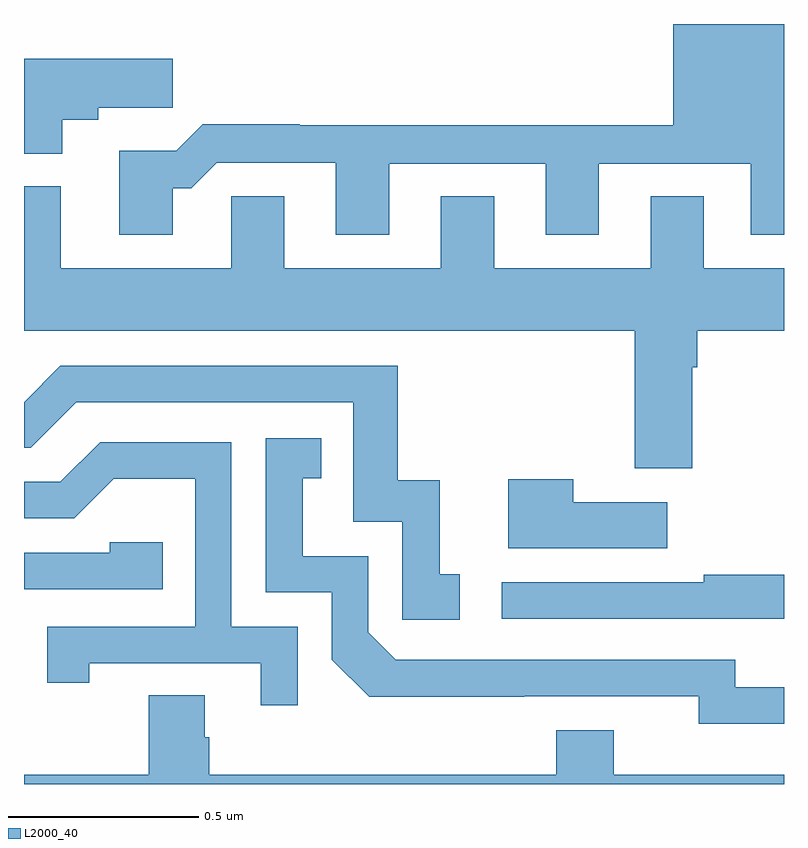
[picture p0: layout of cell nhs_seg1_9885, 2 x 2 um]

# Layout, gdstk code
import gdstk
lib = gdstk.Library(unit=1e-6, precision=1e-09)
def P(c, l, *ps):  # polygons
    for p in ps: c.add(gdstk.Polygon(p, *l))
L2000_40 = (2000, 40)

nhs_seg1_9885 = lib.new_cell('nhs_seg1_9885')
P(nhs_seg1_9885, L2000_40, [(234.391,558.767),(234.44,558.767),(234.507,558.834),(234.821,558.834),(234.821,558.645),(234.961,558.645),(234.961,558.831),(235.373,558.831),(235.373,558.645),(235.513,558.645),(235.513,558.831),(235.913,558.831),(235.913,558.645),(236,558.645),(236,559.199),(235.709,559.199),(235.709,558.932),(234.725,558.932),(234.725,558.935),(234.47,558.935),(234.4,558.865),(234.251,558.865),(234.251,558.645),(234.391,558.645)],
  [(234.1,558.947),(234.196,558.947),(234.196,558.979),(234.391,558.979),(234.391,559.108),(234,559.108),(234,558.857),(234.1,558.857)],
  [(235.759,558.296),(235.772,558.296),(235.772,558.392),(236,558.392),(236,558.556),(235.789,558.556),(235.789,558.746),(235.649,558.746),(235.649,558.556),(235.237,558.556),(235.237,558.746),(235.097,558.746),(235.097,558.556),(234.685,558.556),(234.685,558.746),(234.546,558.746),(234.546,558.556),(234.097,558.556),(234.097,558.772),(234,558.772),(234,558.392),(235.607,558.392),(235.607,558.03),(235.759,558.03)],
  [(235.147,557.751),(235.094,557.751),(235.094,557.998),(234.983,557.998),(234.983,558.3),(234.096,558.3),(234,558.204),(234,558.084),(234.018,558.084),(234.138,558.204),(234.867,558.204),(234.867,557.889),(234.996,557.889),(234.996,557.631),(235.147,557.631)],
  [(236,557.454),(235.872,557.454),(235.872,557.526),(234.978,557.526),(234.906,557.598),(234.906,557.799),(234.733,557.799),(234.733,558.003),(234.782,558.003),(234.782,558.109),(234.636,558.109),(234.636,557.703),(234.81,557.703),(234.81,557.526),(234.908,557.429),(235.316,557.429),(235.316,557.43),(235.776,557.43),(235.776,557.357),(236,557.357)],
  [(234.72,557.613),(234.546,557.613),(234.546,558.099),(234.2,558.099),(234.095,557.994),(234,557.994),(234,557.898),(234.132,557.898),(234.236,558.002),(234.45,558.002),(234.45,557.613),(234.061,557.613),(234.061,557.466),(234.172,557.466),(234.172,557.517),(234.623,557.517),(234.623,557.406),(234.72,557.406)],
  [(235.693,557.941),(235.445,557.941),(235.445,558.001),(235.274,558.001),(235.274,557.819),(235.693,557.819)],
  [(234.365,557.835),(234.225,557.835),(234.225,557.808),(234,557.808),(234,557.712),(234.365,557.712)],
  [(236,557.75),(235.789,557.75),(235.789,557.73),(235.257,557.73),(235.257,557.634),(236,557.634)],
  [(236,557.224),(235.552,557.224),(235.552,557.341),(235.4,557.341),(235.4,557.224),(234.488,557.224),(234.488,557.322),(234.475,557.322),(234.475,557.432),(234.328,557.432),(234.328,557.224),(234,557.224),(234,557.199),(236,557.199)])

lib.write_gds('nhs_seg1_9885.gds')
